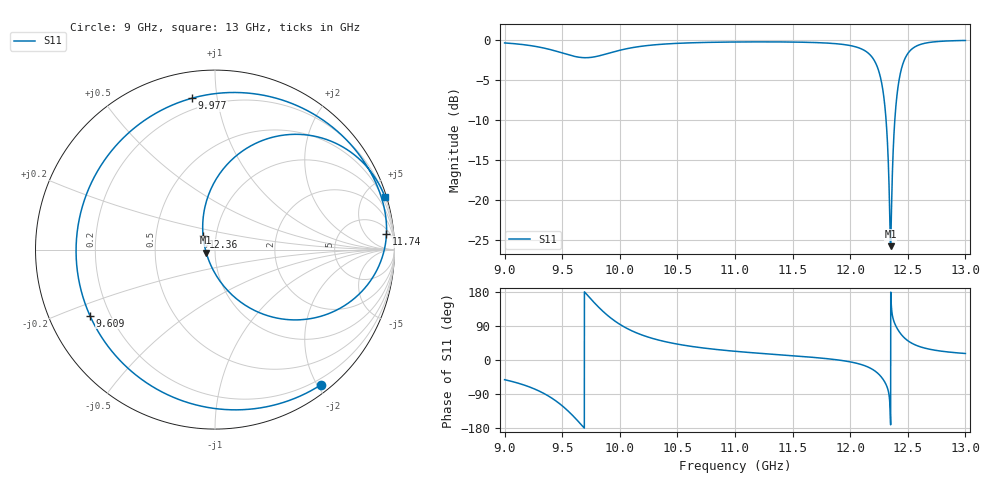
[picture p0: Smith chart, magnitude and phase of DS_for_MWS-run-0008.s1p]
! TOUCHSTONE file generated by CST DESIGN STUDIO
! Date and time: Tue Feb  4 17:58:49 2025
! Project name: C:\Work\MatlabApps\UnitCellOptimizationMatlab\CST\unitcell.cst
! Tree item: Tasks\Sweep1\SPara1\S-Parameters
! Header version: 2024
! Port assignment regex: !\s*Touchstone port\s*([0-9]+)\s*=\s*(CST MWS port|CST DES external port|CST DES block port)\s*(.+)\s* \(\"(.*)\"\)(\s*mode\s*([0-9]+))?.*
! Touchstone port assignment:
! Touchstone port 1 = CST DES external port 1 ("")
# GHz S MA R 50
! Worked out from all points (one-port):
!   4001 points, 9 GHz to 13 GHz, reference 50 ohm
!   lowest |S11| = -25.7 dB at 12.35 GHz (marker M1), VSWR 1.11, Z = 45.3 - j1.53 ohm
!   |S11| at or under -10 dB: 12.31 GHz to 12.39 GHz (75.82 MHz wide, 0.614 % of centre)
!   S11 on the Smith chart (normalised r, x): 9 GHz: 0.11, -2.05; 9.609 GHz: 0.13, -0.24; 9.977 GHz: 0.14, +0.85; 11.74 GHz: 8, +18; 12.36 GHz: 0.87, +0.13; 13 GHz: 0.19, +6.61
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9  0.957 -52.0
9.167  0.9329 -65.9
9.319  0.8959 -84.8
9.5  0.8284 -120.9
9.609  0.7881 -152.2
9.685  0.7744 -177.4
9.759  0.7791 157.6
9.867  0.8113 124.7
9.977  0.8532 98.7
10  0.8613 94.2
10.223  0.919 62.7
10.5  0.9514 41.9
11  0.9699 23.0
11.5  0.9691 11.2
11.741  0.9595 5.2
12  0.9215 -4.9
12.157  0.8263 -18.9
12.256  0.6098 -39.9
12.304  0.3663 -60.3
12.338  0.1175 -94.1
12.35  0.05165 -160.9
12.36  0.09857 132.0
12.385  0.2988 97.5
12.409  0.471 82.6
12.449  0.677 65.3
12.5  0.8218 50.9
12.663  0.9574 30.2
13  0.9916 17.2
